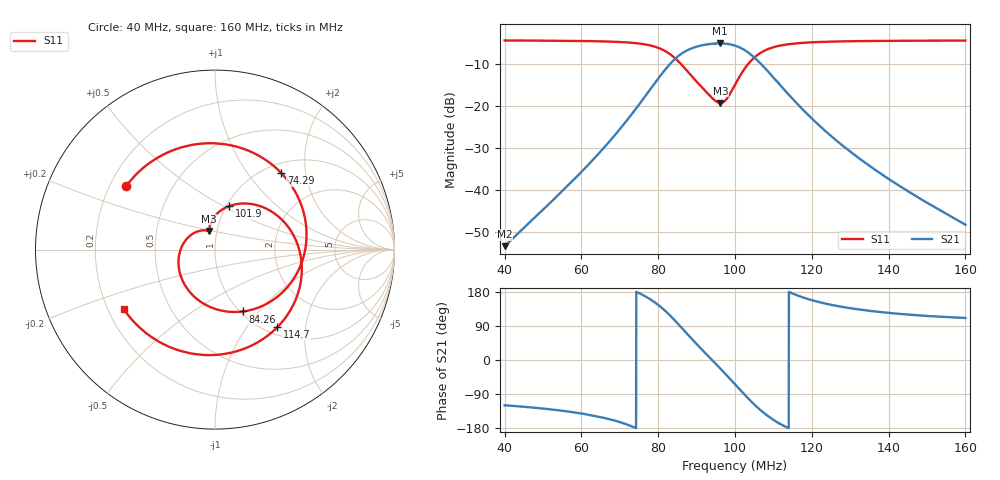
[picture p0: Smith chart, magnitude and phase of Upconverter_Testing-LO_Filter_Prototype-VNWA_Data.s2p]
! ListType=Lin
# MHZ S DB R 50
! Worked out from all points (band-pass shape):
!   2048 points, 40 MHz to 160 MHz, reference 50 ohm
!   highest |S21| = -5.01 dB at 95.98 MHz (marker M1); lowest = -53.3 dB at 40 MHz (marker M2)
!   |S21| within 3 dB of the highest: 85.26 MHz to 104.6 MHz (19.32 MHz wide, 20.4 % of centre)
!   lowest |S11| = -19.2 dB at 96.22 MHz (marker M3), VSWR 1.25, Z = 45.8 + j9.65 ohm
!   |S11| at or under -10 dB: 86.01 MHz to 103.4 MHz (17.34 MHz wide, 18.3 % of centre)
!   S12 and S22 are empty: the file has one direction only
!   S11 on the Smith chart (normalised r, x): 40 MHz: 0.27, +0.30; 74.29 MHz: 1.17, +1.47; 84.26 MHz: 1.03, -0.83; 101.9 MHz: 1.03, +0.54; 114.7 MHz: 1.13, -1.41; 160 MHz: 0.27, -0.28
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40  -4.31 144.1  -53.27 -119.6  -3000.00 -90.0  -3000.00 -90.0
60.04885  -4.44 109.1  -35.55 -141.3  -3000.00 -90.0  -3000.00 -90.0
68.60772  -4.63 80.4  -26.96 -159.7  -3000.00 -90.0  -3000.00 -90.0
74.29409  -4.97 49.1  -20.44 179.9  -3000.00 -90.0  -3000.00 -90.0
77.63556  -5.44 22.1  -16.31 162.0  -3000.00 -90.0  -3000.00 -90.0
80.03908  -6.08 -3.7  -13.33 145.0  -3000.00 -90.0  -3000.00 -90.0
81.97362  -6.92 -29.2  -11.08 128.3  -3000.00 -90.0  -3000.00 -90.0
84.25989  -8.44 -65.5  -8.82 105.2  -3000.00 -90.0  -3000.00 -90.0
86.72203  -10.71 -111.1  -7.08 78.1  -3000.00 -90.0  -3000.00 -90.0
88.65657  -12.73 -149.3  -6.21 56.6  -3000.00 -90.0  -3000.00 -90.0
92.52565  -16.58 141.1  -5.28 15.5  -3000.00 -90.0  -3000.00 -90.0
95.98437  -19.19 108.7  -5.01 -20.6  -3000.00 -90.0  -3000.00 -90.0
96.21886  -19.21 108.0  -5.02 -23.0  -3000.00 -90.0  -3000.00 -90.0
100.0293  -14.78 91.5  -5.55 -64.4  -3000.00 -90.0  -3000.00 -90.0
101.9052  -11.83 71.6  -6.29 -85.0  -3000.00 -90.0  -3000.00 -90.0
104.7191  -8.64 37.3  -8.12 -114.4  -3000.00 -90.0  -3000.00 -90.0
108.1778  -6.53 -1.0  -11.27 -144.9  -3000.00 -90.0  -3000.00 -90.0
114.6849  -5.12 -51.2  -17.90 176.9  -3000.00 -90.0  -3000.00 -90.0
120.0195  -4.76 -77.0  -22.90 157.9  -3000.00 -90.0  -3000.00 -90.0
129.1646  -4.52 -105.0  -30.17 138.0  -3000.00 -90.0  -3000.00 -90.0
140.0098  -4.41 -125.1  -37.34 124.4  -3000.00 -90.0  -3000.00 -90.0
160  -4.34 -146.7  -48.16 110.9  -3000.00 -90.0  -3000.00 -90.0
